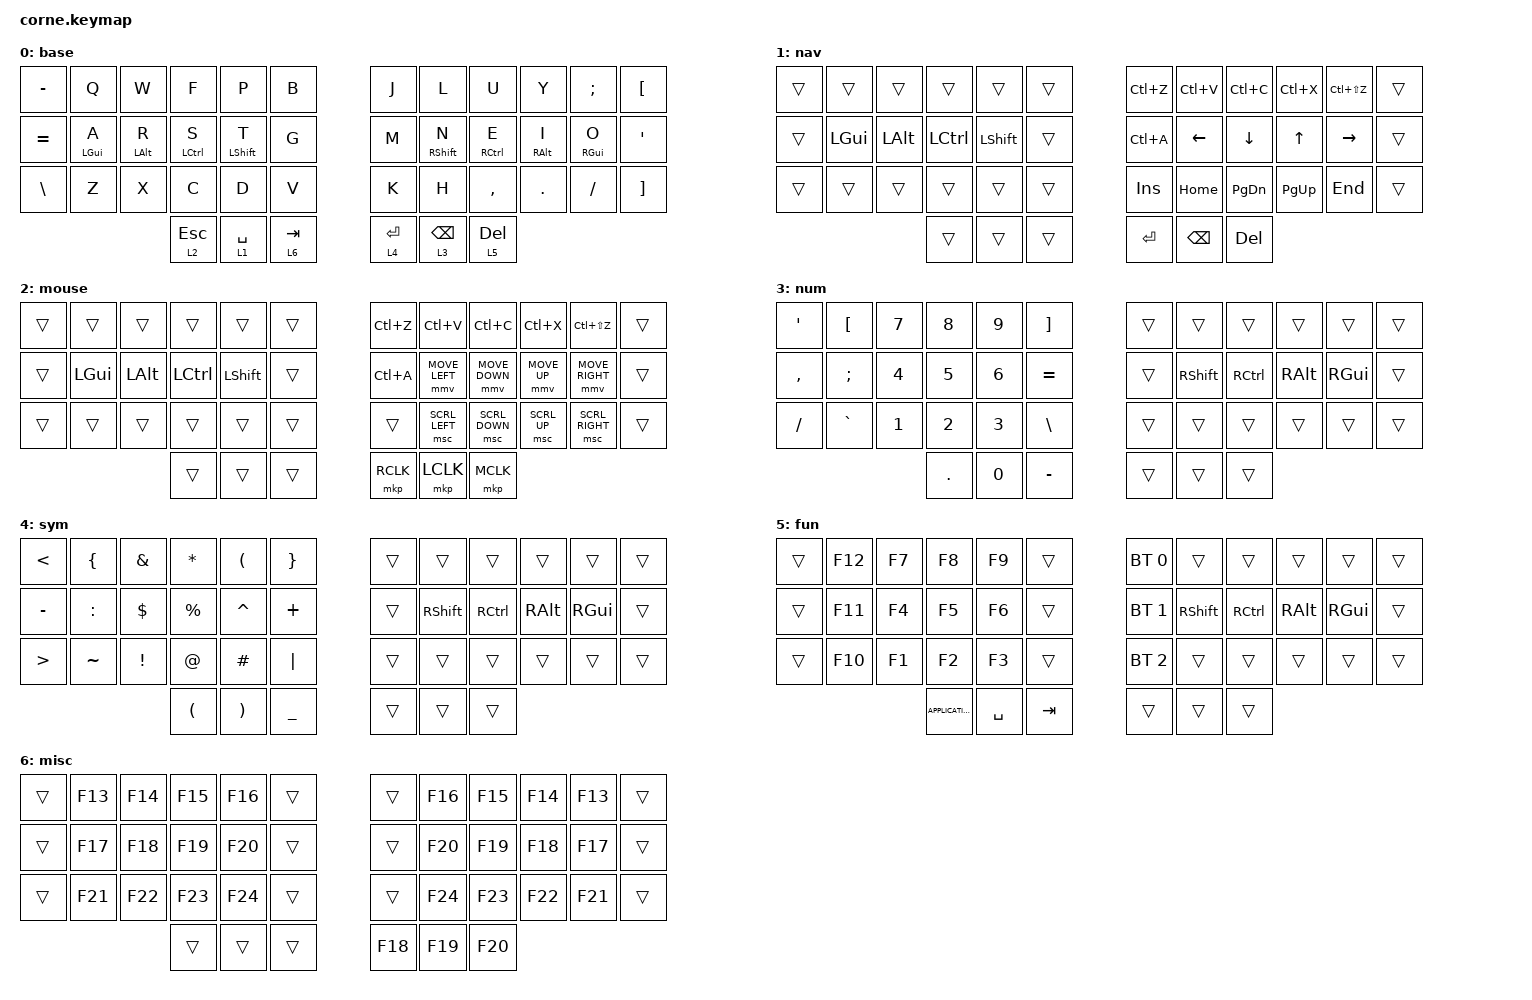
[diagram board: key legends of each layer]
#include <behaviors.dtsi>
#include <dt-bindings/zmk/bt.h>
#include <dt-bindings/zmk/keys.h>
#include <dt-bindings/zmk/pointing.h>

/ {
    behaviors {
        hml: hml {
            compatible = "zmk,behavior-hold-tap";
            label = "HML";
            bindings = <&kp>, <&kp>;

            #binding-cells = <2>;
            tapping-term-ms = <280>;
            quick-tap-ms = <175>;
            require-prior-idle-ms = <150>;
            flavor = "balanced";
            hold-trigger-on-release;
            hold-trigger-key-positions = <39 40 6 7 8 9 10 11 19 20 21 22 23 31 32 33 34 35 18 19 20 30 31 32 40 41>;
        };

        hmr: hmr {
            compatible = "zmk,behavior-hold-tap";
            label = "HMR";
            bindings = <&kp>, <&kp>;

            #binding-cells = <2>;
            tapping-term-ms = <280>;
            quick-tap-ms = <175>;
            require-prior-idle-ms = <150>;
            flavor = "balanced";
            hold-trigger-on-release;
            hold-trigger-key-positions = <0 1 2 3 4 5 12 13 14 15 16 17 24 25 26 27 28 29 36 37 38>;
        };
    };

    keymap {
        compatible = "zmk,keymap";

        base {
            bindings = <
&kp MINUS  &kp Q            &kp W            &kp F         &kp P              &kp B        &kp J      &kp L               &kp U         &kp Y             &kp SEMICOLON     &kp LBKT
&kp EQUAL  &hml LEFT_GUI A  &hml LEFT_ALT R  &hml LCTRL S  &hml LEFT_SHIFT T  &kp G        &kp M      &hmr RIGHT_SHIFT N  &hmr RCTRL E  &hmr RIGHT_ALT I  &hmr RIGHT_GUI O  &kp SQT
&kp BSLH   &kp Z            &kp X            &kp C         &kp D              &kp V        &kp K      &kp H               &kp COMMA     &kp DOT           &kp FSLH          &kp RBKT
                                             &lt 2 ESC     &lt 1 SPACE        &lt 6 TAB    &lt 4 RET  &lt 3 BACKSPACE     &lt 5 DELETE
            >;
        };

        nav {
            bindings = <
&trans  &trans    &trans    &trans     &trans     &trans    &kp LC(Z)   &kp LC(V)       &kp LC(C)       &kp LC(X)     &kp LC(LS(Z))    &trans
&trans  &kp LGUI  &kp LALT  &kp LCTRL  &kp LSHFT  &trans    &kp LC(A)   &kp LEFT_ARROW  &kp DOWN_ARROW  &kp UP_ARROW  &kp RIGHT_ARROW  &trans
&trans  &trans    &trans    &trans     &trans     &trans    &kp INSERT  &kp HOME        &kp PAGE_DOWN   &kp PAGE_UP   &kp END          &trans
                            &trans     &trans     &trans    &kp ENTER   &kp BSPC        &kp DELETE
            >;
        };

        mouse {
            bindings = <
&trans  &trans    &trans    &trans     &trans     &trans    &kp LC(Z)  &kp LC(V)       &kp LC(C)       &kp LC(X)     &kp LC(LS(Z))    &trans
&trans  &kp LGUI  &kp LALT  &kp LCTRL  &kp LSHFT  &trans    &kp LC(A)  &mmv MOVE_LEFT  &mmv MOVE_DOWN  &mmv MOVE_UP  &mmv MOVE_RIGHT  &trans
&trans  &trans    &trans    &trans     &trans     &trans    &trans     &msc SCRL_LEFT  &msc SCRL_DOWN  &msc SCRL_UP  &msc SCRL_RIGHT  &trans
                            &trans     &trans     &trans    &mkp RCLK  &mkp LCLK       &mkp MCLK
            >;
        };

        num {
            bindings = <
&kp SQT    &kp LBKT   &kp N7  &kp N8   &kp N9  &kp RBKT     &trans  &trans     &trans     &trans    &trans    &trans
&kp COMMA  &kp SEMI   &kp N4  &kp N5   &kp N6  &kp EQUAL    &trans  &kp RSHFT  &kp RCTRL  &kp RALT  &kp RGUI  &trans
&kp FSLH   &kp GRAVE  &kp N1  &kp N2   &kp N3  &kp BSLH     &trans  &trans     &trans     &trans    &trans    &trans
                              &kp DOT  &kp N0  &kp MINUS    &trans  &trans     &trans
            >;
        };

        sym {
            bindings = <
&kp LESS_THAN     &kp LEFT_BRACE  &kp AMPERSAND  &kp ASTRK             &kp LEFT_PARENTHESIS   &kp RIGHT_BRACE    &trans  &trans     &trans     &trans    &trans    &trans
&kp MINUS         &kp COLON       &kp DOLLAR     &kp PERCENT           &kp CARET              &kp PLUS           &trans  &kp RSHFT  &kp RCTRL  &kp RALT  &kp RGUI  &trans
&kp GREATER_THAN  &kp TILDE       &kp EXCL       &kp AT                &kp POUND              &kp PIPE           &trans  &trans     &trans     &trans    &trans    &trans
                                                 &kp LEFT_PARENTHESIS  &kp RIGHT_PARENTHESIS  &kp UNDER          &trans  &trans     &trans
            >;
        };

        fun {
            bindings = <
&trans  &kp F12  &kp F7  &kp F8             &kp F9     &trans     &bt BT_SEL 0  &trans     &trans     &trans    &trans    &trans
&trans  &kp F11  &kp F4  &kp F5             &kp F6     &trans     &bt BT_SEL 1  &kp RSHFT  &kp RCTRL  &kp RALT  &kp RGUI  &trans
&trans  &kp F10  &kp F1  &kp F2             &kp F3     &trans     &bt BT_SEL 2  &trans     &trans     &trans    &trans    &trans
                         &kp K_APPLICATION  &kp SPACE  &kp TAB    &trans        &trans     &trans
            >;
        };

        misc {
            bindings = <
&trans  &kp F13  &kp F14  &kp F15  &kp F16  &trans    &trans   &kp F16  &kp F15  &kp F14  &kp F13  &trans
&trans  &kp F17  &kp F18  &kp F19  &kp F20  &trans    &trans   &kp F20  &kp F19  &kp F18  &kp F17  &trans
&trans  &kp F21  &kp F22  &kp F23  &kp F24  &trans    &trans   &kp F24  &kp F23  &kp F22  &kp F21  &trans
                          &trans   &trans   &trans    &kp F18  &kp F19  &kp F20
            >;
        };
    };
};
